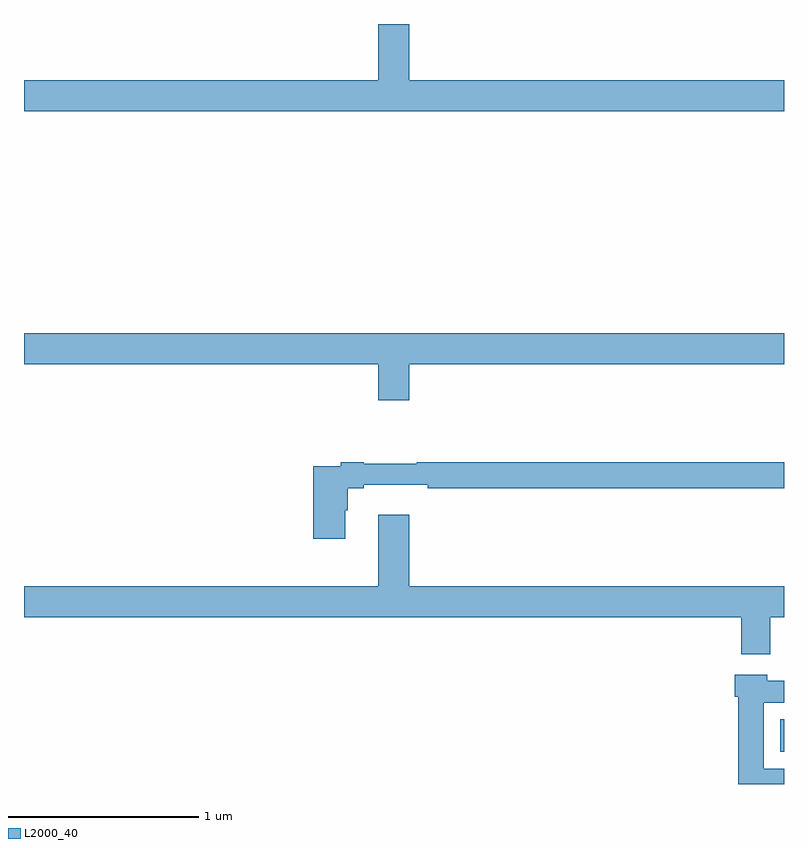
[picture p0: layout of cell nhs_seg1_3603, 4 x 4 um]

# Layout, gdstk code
import gdstk
lib = gdstk.Library(unit=1e-6, precision=1e-09)
def R(c, l, rs):  # rectangles x0, y0, x1, y1
    for r in rs: c.add(gdstk.rectangle(r[:2], r[2:], *l))
def P(c, l, *ps):  # polygons
    for p in ps: c.add(gdstk.Polygon(p, *l))
L2000_40 = (2000, 40)

nhs_seg1_3603 = lib.new_cell('nhs_seg1_3603')
R(nhs_seg1_3603, L2000_40, [(310.979,540.368,311,540.541)])
P(nhs_seg1_3603, L2000_40, [(311,543.904),(309.028,543.904),(309.028,544.199),(308.864,544.199),(308.864,543.904),(307,543.904),(307,543.74),(311,543.74)],
  [(309.028,542.408),(311,542.408),(311,542.572),(307,542.572),(307,542.408),(308.864,542.408),(308.864,542.22),(309.028,542.22)],
  [(308.692,541.641),(308.705,541.641),(308.705,541.756),(308.788,541.756),(308.788,541.775),(309.124,541.775),(309.124,541.756),(311,541.756),(311,541.892),(309.068,541.892),(309.068,541.885),(308.788,541.885),(308.788,541.892),(308.668,541.892),(308.668,541.872),(308.522,541.872),(308.522,541.491),(308.692,541.491)],
  [(310.927,541.076),(311,541.076),(311,541.24),(309.028,541.24),(309.028,541.615),(308.864,541.615),(308.864,541.24),(307,541.24),(307,541.076),(310.775,541.076),(310.775,540.882),(310.927,540.882)],
  [(311,540.279),(310.894,540.279),(310.894,540.626),(311,540.626),(311,540.742),(310.912,540.742),(310.912,540.775),(310.742,540.775),(310.742,540.657),(310.76,540.657),(310.76,540.199),(311,540.199)])

lib.write_gds('nhs_seg1_3603.gds')
